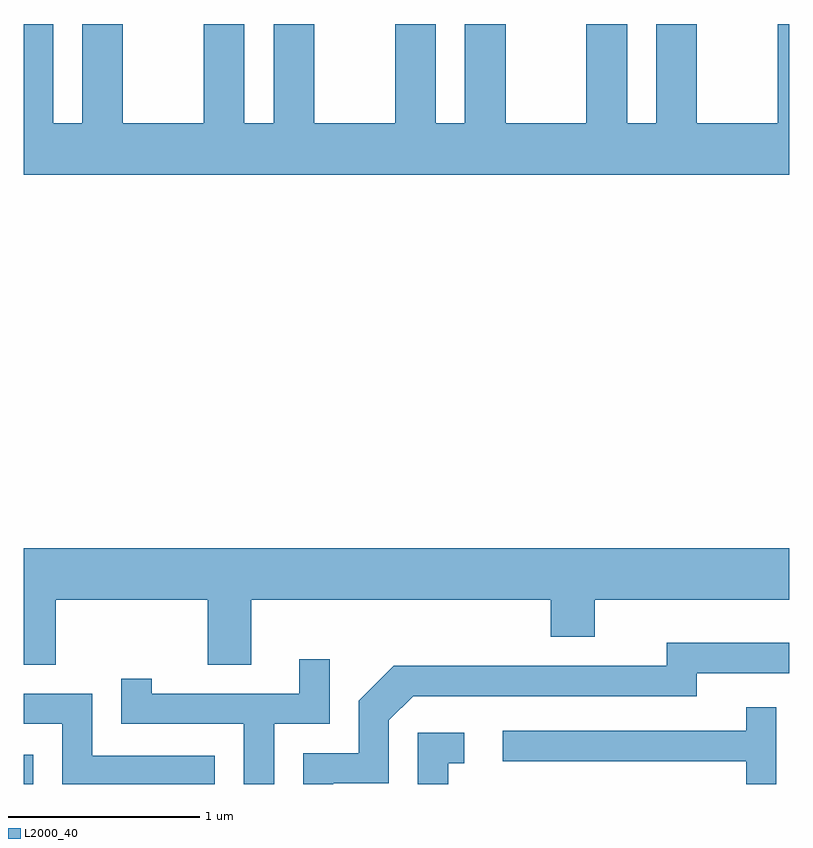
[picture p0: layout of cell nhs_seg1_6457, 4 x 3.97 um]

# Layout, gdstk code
import gdstk
lib = gdstk.Library(unit=1e-6, precision=1e-09)
def R(c, l, rs):  # rectangles x0, y0, x1, y1
    for r in rs: c.add(gdstk.rectangle(r[:2], r[2:], *l))
def P(c, l, *ps):  # polygons
    for p in ps: c.add(gdstk.Polygon(p, *l))
L2000_40 = (2000, 40)

nhs_seg1_6457 = lib.new_cell('nhs_seg1_6457')
R(nhs_seg1_6457, L2000_40, [(379.611,909.712,379.659,909.864)])
P(nhs_seg1_6457, L2000_40, [(383.611,913.684),(383.551,913.684),(383.551,913.164),(383.129,913.164),(383.129,913.684),(382.916,913.684),(382.916,913.164),(382.764,913.164),(382.764,913.684),(382.551,913.684),(382.551,913.164),(382.129,913.164),(382.129,913.684),(381.916,913.684),(381.916,913.164),(381.764,913.164),(381.764,913.684),(381.551,913.684),(381.551,913.164),(381.129,913.164),(381.129,913.684),(380.916,913.684),(380.916,913.164),(380.764,913.164),(380.764,913.684),(380.551,913.684),(380.551,913.164),(380.129,913.164),(380.129,913.684),(379.916,913.684),(379.916,913.164),(379.764,913.164),(379.764,913.684),(379.611,913.684),(379.611,912.896),(383.611,912.896)],
  [(379.779,910.676),(380.571,910.676),(380.571,910.336),(380.799,910.336),(380.799,910.676),(382.366,910.676),(382.366,910.481),(382.594,910.481),(382.594,910.676),(383.611,910.676),(383.611,910.944),(379.611,910.944),(379.611,910.336),(379.779,910.336)],
  [(381.229,909.716),(381.519,909.716),(381.519,910.044),(381.647,910.171),(383.129,910.171),(383.129,910.291),(383.611,910.291),(383.611,910.449),(382.971,910.449),(382.971,910.329),(381.544,910.329),(381.361,910.147),(381.361,909.874),(381.071,909.874),(381.071,909.712),(381.229,909.712)],
  [(380.919,910.026),(381.209,910.026),(381.209,910.363),(381.051,910.363),(381.051,910.184),(380.279,910.184),(380.279,910.263),(380.121,910.263),(380.121,910.026),(380.761,910.026),(380.761,909.712),(380.919,909.712)],
  [(380.609,909.859),(379.969,909.859),(379.969,910.184),(379.611,910.184),(379.611,910.026),(379.811,910.026),(379.811,909.712),(380.609,909.712)],
  [(383.544,910.113),(383.386,910.113),(383.386,909.989),(382.113,909.989),(382.113,909.831),(383.386,909.831),(383.386,909.712),(383.544,909.712)],
  [(381.829,909.821),(381.913,909.821),(381.913,909.979),(381.671,909.979),(381.671,909.712),(381.829,909.712)])

lib.write_gds('nhs_seg1_6457.gds')
